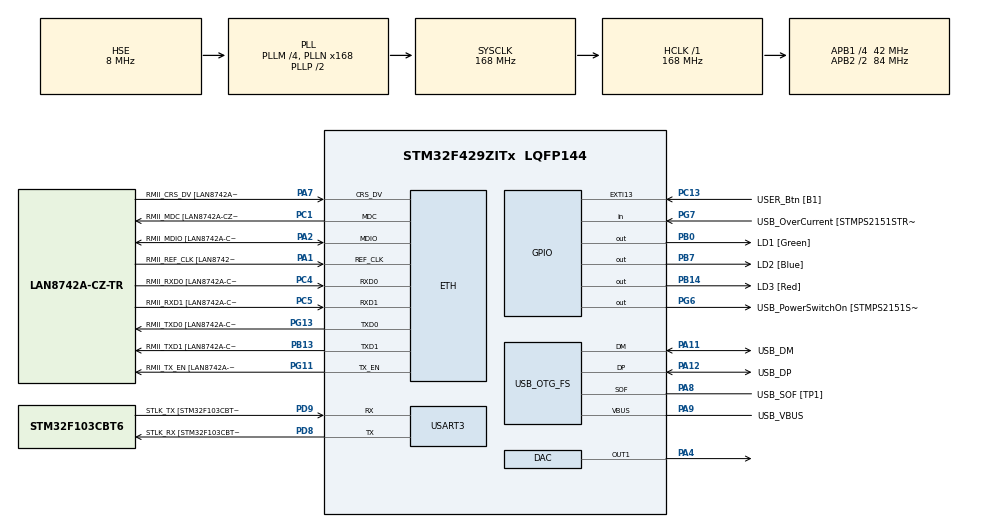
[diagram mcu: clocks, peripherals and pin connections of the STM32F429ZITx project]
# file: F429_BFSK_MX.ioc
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ETH.MediaInterface=HAL_ETH_RMII_MODE
ETH.PHY_Name=LAN8742A_PHY_ADDRESS
ETH.PHY_Value=0
ETH.PhyAddress=0
Mcu.Family=STM32F4
Mcu.Name=STM32F429ZITx
Mcu.Package=LQFP144
NVIC.PriorityGroup=NVIC_PRIORITYGROUP_4
NVIC.TIM6_DAC_IRQn=true\:0\:0\:false\:false\:true\:true\:true\:true
PA1.GPIO_Label=RMII_REF_CLK [LAN8742A-CZ-TR_REFCLK0]
PA1.Mode=RMII
PA1.Signal=ETH_REF_CLK
PA10.GPIO_Label=USB_ID
PA10.Signal=USB_OTG_FS_ID
PA11.GPIO_Label=USB_DM
PA11.Mode=Device_Only
PA11.Signal=USB_OTG_FS_DM
PA12.GPIO_Label=USB_DP
PA12.Mode=Device_Only
PA12.Signal=USB_OTG_FS_DP
PA13.GPIO_Label=TMS
PA13.Mode=Serial_Wire
PA13.Signal=SYS_JTMS-SWDIO
PA14.GPIO_Label=TCK
PA14.Mode=Serial_Wire
PA14.Signal=SYS_JTCK-SWCLK
PA2.GPIO_Label=RMII_MDIO [LAN8742A-CZ-TR_MDIO]
PA2.Mode=RMII
PA2.Signal=ETH_MDIO
PA4.Signal=COMP_DAC1_group
PA7.GPIO_Label=RMII_CRS_DV [LAN8742A-CZ-TR_CRS_DV]
PA7.Mode=RMII
PA7.Signal=ETH_CRS_DV
PA8.GPIO_Label=USB_SOF [TP1]
PA8.Mode=Activate_SOF_FS
PA8.Signal=USB_OTG_FS_SOF
PA9.GPIO_Label=USB_VBUS
PA9.Mode=Activate_VBUS
PA9.Signal=USB_OTG_FS_VBUS
PB0.GPIO_Label=LD1 [Green]
PB0.Signal=GPIO_Output
PB13.GPIO_Label=RMII_TXD1 [LAN8742A-CZ-TR_TXD1]
PB13.Mode=RMII
PB13.Signal=ETH_TXD1
PB14.GPIO_Label=LD3 [Red]
PB14.Signal=GPIO_Output
PB7.GPIO_Label=LD2 [Blue]
PB7.Signal=GPIO_Output
PC1.GPIO_Label=RMII_MDC [LAN8742A-CZ-TR_MDC]
PC1.Mode=RMII
PC1.Signal=ETH_MDC
PC13.GPIO_Label=USER_Btn [B1]
PC13.Signal=GPXTI13
PC14/OSC32_IN.Mode=LSE-External-Oscillator
PC14/OSC32_IN.Signal=RCC_OSC32_IN
PC15/OSC32_OUT.Mode=LSE-External-Oscillator
PC15/OSC32_OUT.Signal=RCC_OSC32_OUT
PC4.GPIO_Label=RMII_RXD0 [LAN8742A-CZ-TR_RXD0]
PC4.Mode=RMII
PC4.Signal=ETH_RXD0
PC5.GPIO_Label=RMII_RXD1 [LAN8742A-CZ-TR_RXD1]
PC5.Mode=RMII
PC5.Signal=ETH_RXD1
PD8.GPIO_Label=STLK_RX [STM32F103CBT6_PA3]
PD8.Mode=Asynchronous
PD8.Signal=USART3_TX
PD9.GPIO_Label=STLK_TX [STM32F103CBT6_PA2]
PD9.Mode=Asynchronous
PD9.Signal=USART3_RX
PG11.GPIO_Label=RMII_TX_EN [LAN8742A-CZ-TR_TXEN]
PG11.Mode=RMII
PG11.Signal=ETH_TX_EN
PG13.GPIO_Label=RMII_TXD0 [LAN8742A-CZ-TR_TXD0]
PG13.Mode=RMII
PG13.Signal=ETH_TXD0
PG6.GPIO_Label=USB_PowerSwitchOn [STMPS2151STR_EN]
PG6.Signal=GPIO_Output
PG7.GPIO_Label=USB_OverCurrent [STMPS2151STR_FAULT]
PG7.Signal=GPIO_Input
PH0/OSC_IN.GPIO_Label=MCO [STM32F103CBT6_PA8]
PH0/OSC_IN.Mode=HSE-External-Clock-Source
PH0/OSC_IN.Signal=RCC_OSC_IN
PH1/OSC_OUT.Mode=HSE-External-Clock-Source
PH1/OSC_OUT.Signal=RCC_OSC_OUT
ProjectManager.HeapSize=0x200
ProjectManager.StackSize=0x400
ProjectManager.TargetToolchain=STM32CubeIDE
RCC.48MHZClocksFreq_Value=48000000
RCC.AHBFreq_Value=168000000
RCC.APB1CLKDivider=RCC_HCLK_DIV4
RCC.APB1Freq_Value=42000000
RCC.APB1TimFreq_Value=84000000
RCC.APB2CLKDivider=RCC_HCLK_DIV2
RCC.APB2Freq_Value=84000000
RCC.APB2TimCLKDivider=2
RCC.APB2TimFreq_Value=168000000
RCC.CortexFreq_Value=168000000
RCC.HCLKFreq_Value=168000000
RCC.HSE_VALUE=8000000
RCC.HSI_VALUE=16000000
RCC.PLLM=4
RCC.PLLMUL=RCC_PLL_MUL9
RCC.PLLN=168
RCC.PLLQ=7
RCC.PRESCALERUSB=RCC_USBCLKSOURCE_PLL_DIV1_5
RCC.SYSCLKFreq_VALUE=168000000
RCC.SYSCLKSource=RCC_SYSCLKSOURCE_PLLCLK
RCC.SYSCLKSourceVirtual=RCC_SYSCLKSOURCE_PLLCLK
RCC.USBFreq_Value=48000000
RCC.VCOOutputFreq_Value=336000000
SH.COMP_DAC1_group.0=DAC_OUT1,DAC_OUT1
TIM6.Period=1311
USART3.VirtualMode=VM_ASYNC
USB_OTG_FS.VirtualMode=Device_Only
VP_TIM6_VS_ClockSourceINT.Mode=Enable_Timer
board=NUCLEO-F429ZI

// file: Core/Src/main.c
/* USER CODE BEGIN Header */
/* F429_BFSK_MX */
/**
  ******************************************************************************
  * @file           : main.c
  * @brief          : Main program body
  ******************************************************************************
  * @attention
  *
  * Copyright (c) 2026 STMicroelectronics.
  * All rights reserved.
  *
  * This software is licensed under terms that can be found in the LICENSE file
  * in the root directory of this software component.
  * If no LICENSE file comes with this software, it is provided AS-IS.
  *
  ******************************************************************************
  */
/* USER CODE END Header */
#include "main.h"
#include "string.h"

/* USER CODE BEGIN Includes */
#include <string.h>
#include <stdint.h>
/* USER CODE END Includes */

ETH_TxPacketConfig TxConfig;
ETH_DMADescTypeDef  DMARxDscrTab[ETH_RX_DESC_CNT]; /* Ethernet Rx DMA Descriptors */
ETH_DMADescTypeDef  DMATxDscrTab[ETH_TX_DESC_CNT]; /* Ethernet Tx DMA Descriptors */

DAC_HandleTypeDef hdac;

ETH_HandleTypeDef heth;

TIM_HandleTypeDef htim6;

UART_HandleTypeDef huart3;

PCD_HandleTypeDef hpcd_USB_OTG_FS;

/* USER CODE BEGIN PV */
#define TABLE_SIZE 64U
#define UPDATE_RATE_HZ 64000UL
#define BIT_MS 5UL
#define DAC_VREF_V 3.34f
#define DAC_1V68_CODE ((uint16_t)(1.68f / DAC_VREF_V * 4095.0f))

// Test message
static const char bitString[]="01000001010011010100000101000011";

// 12-bit DAC sine LUT (0..4095)
static const uint16_t sineTable[TABLE_SIZE] = {
  2048,2248,2447,2642,2831,3013,3185,3346,
  3495,3630,3750,3853,3939,4006,4056,4086,
  4095,4086,4056,4006,3939,3853,3750,3630,
  3495,3346,3185,3013,2831,2642,2447,2248,
  2048,1847,1648,1453,1264,1082, 910, 749,
   600, 465, 345, 242, 156,  89,  39,   9,
     0,   9,  39,  89, 156, 242, 345, 465,
   600, 749, 910,1082,1264,1453,1648,1847
};

// DDS phase accumulator (Q16) + step
volatile uint32_t phase = 0;
volatile uint32_t phase_step = 0;

// override control (for fixed DC output)
volatile uint8_t dac_override_en = 1;
volatile uint16_t dac_override_val = DAC_1V68_CODE;

static inline  uint32_t calc_phase_step(uint32_t freq_hz)
{
  // step = TABLE_SIZE * 65536 * f / UPDATE_RATE
  return (uint32_t)((uint64_t)TABLE_SIZE * 65536ULL * (uint64_t)freq_hz / (uint64_t)UPDATE_RATE_HZ);
}

// TX state machine
typedef enum{
  ST_PRE_1V68_50MS = 0,
  ST_PRE_0V_50MS,
  ST_DATA,
  ST_POST_0V_50MS,
  ST_DONE
} TxState;

static TxState st = ST_PRE_1V68_50MS;

static uint32_t bitIndex = 0;
static uint32_t lastBitTick = 0;
static uint32_t stTick = 0;

/* USER CODE END PV */

void SystemClock_Config(void);
static void MX_GPIO_Init(void);
static void MX_DAC_Init(void);
static void MX_ETH_Init(void);
static void MX_TIM6_Init(void);
static void MX_USART3_UART_Init(void);
static void MX_USB_OTG_FS_PCD_Init(void);

int main(void)
{

  /* MCU Configuration--------------------------------------------------------*/

  /* Reset of all peripherals, Initializes the Flash interface and the Systick. */
  HAL_Init();

  /* Configure the system clock */
  SystemClock_Config();

  /* Initialize all configured peripherals */
  MX_GPIO_Init();
  MX_DAC_Init();
  MX_ETH_Init();
  MX_TIM6_Init();
  MX_USART3_UART_Init();
  MX_USB_OTG_FS_PCD_Init();
  /* USER CODE BEGIN 2 */
  HAL_DAC_Start(&hdac, DAC_CHANNEL_1);
  // Start TIM6 interrupt (TIM6 already configured to ~ 64 kHz in CubeMX)
  HAL_TIM_Base_Start_IT(&htim6);

  st = ST_PRE_1V68_50MS;
  stTick = HAL_GetTick();

  dac_override_en = 1;
  dac_override_val = DAC_1V68_CODE;

  phase = 0;
  phase_step = 0;
  bitIndex = 0;

  /* USER CODE END 2 */

  /* Infinite loop */
  /* USER CODE BEGIN WHILE */
  while (1)
  {
	  uint32_t now = HAL_GetTick();

	  switch (st)
	  {
	  case ST_PRE_1V68_50MS:
		  // fix 1.68 V output for 50 ms
		  dac_override_en = 1;
		  dac_override_val = DAC_1V68_CODE;

		  if (now - stTick >= 50)
		  {
			  st = ST_PRE_0V_50MS;
			  stTick = now;
		  }
		  break;
	  case ST_PRE_0V_50MS:
		  // fix 0V output for 50 ms
		  dac_override_en = 1;
		  dac_override_val = 0;

		  if (now - stTick >= 50)
		  {
			  // into the data section
			  st = ST_DATA;
			  stTick = now;

			  dac_override_en = 0;
			  phase = 0;
			  bitIndex = 0;
			  lastBitTick = now;

			  if (bitString[0] == '0') phase_step = calc_phase_step(1000);
			  else phase_step = calc_phase_step(2000);
		  }
		  break;

	  case ST_DATA:
		  // change frequency per bit_ms
		  if (now - lastBitTick >= BIT_MS)
		  {
			  lastBitTick += BIT_MS;
			  bitIndex++;

			  char b = bitString[bitIndex];

			  if (b == '\0')
			  {
				  st = ST_POST_0V_50MS;
				  stTick = now;
				  // back to 0V

				  dac_override_en = 1;
				  dac_override_val = 0;
				  phase_step = 0;
			  } else{
				  if (b == '0') phase_step = calc_phase_step(1000);
				  else phase_step = calc_phase_step(2000);
			  }
		  }
		  break;

	  case ST_POST_0V_50MS:
		  // fix 0V output for 50 ms
		  dac_override_en = 1;
		  dac_override_val = 0;

		  if (now - stTick >= 50)
		  {
			  st = ST_DONE;
		  }
		  break;

	  case ST_DONE:
		  if (now - stTick >= 500)
		  {
			  st = ST_PRE_1V68_50MS;
			  stTick = now;
			  bitIndex = 0;
			  phase = 0;
		  }
		  break;
	  default:
		  // stay at 0V forever
		  dac_override_en = 1;
		  dac_override_val = 0;
		  break;

	  }
    /* USER CODE END WHILE */

  }
}

void SystemClock_Config(void)
{
  RCC_OscInitTypeDef RCC_OscInitStruct = {0};
  RCC_ClkInitTypeDef RCC_ClkInitStruct = {0};

  /** Configure the main internal regulator output voltage
  */
  __HAL_RCC_PWR_CLK_ENABLE();
  __HAL_PWR_VOLTAGESCALING_CONFIG(PWR_REGULATOR_VOLTAGE_SCALE1);

  /** Initializes the RCC Oscillators according to the specified parameters
  * in the RCC_OscInitTypeDef structure.
  */
  RCC_OscInitStruct.OscillatorType = RCC_OSCILLATORTYPE_HSE;
  RCC_OscInitStruct.HSEState = RCC_HSE_BYPASS;
  RCC_OscInitStruct.PLL.PLLState = RCC_PLL_ON;
  RCC_OscInitStruct.PLL.PLLSource = RCC_PLLSOURCE_HSE;
  RCC_OscInitStruct.PLL.PLLM = 4;
  RCC_OscInitStruct.PLL.PLLN = 168;
  RCC_OscInitStruct.PLL.PLLP = RCC_PLLP_DIV2;
  RCC_OscInitStruct.PLL.PLLQ = 7;
  if (HAL_RCC_OscConfig(&RCC_OscInitStruct) != HAL_OK)
  {
    Error_Handler();
  }

  /** Initializes the CPU, AHB and APB buses clocks
  */
  RCC_ClkInitStruct.ClockType = RCC_CLOCKTYPE_HCLK|RCC_CLOCKTYPE_SYSCLK
                              |RCC_CLOCKTYPE_PCLK1|RCC_CLOCKTYPE_PCLK2;
  RCC_ClkInitStruct.SYSCLKSource = RCC_SYSCLKSOURCE_PLLCLK;
  RCC_ClkInitStruct.AHBCLKDivider = RCC_SYSCLK_DIV1;
  RCC_ClkInitStruct.APB1CLKDivider = RCC_HCLK_DIV4;
  RCC_ClkInitStruct.APB2CLKDivider = RCC_HCLK_DIV2;

  if (HAL_RCC_ClockConfig(&RCC_ClkInitStruct, FLASH_LATENCY_5) != HAL_OK)
  {
    Error_Handler();
  }
}

static void MX_DAC_Init(void)
{

  DAC_ChannelConfTypeDef sConfig = {0};

  /** DAC Initialization
  */
  hdac.Instance = DAC;
  if (HAL_DAC_Init(&hdac) != HAL_OK)
  {
    Error_Handler();
  }

  /** DAC channel OUT1 config
  */
  sConfig.DAC_Trigger = DAC_TRIGGER_NONE;
  sConfig.DAC_OutputBuffer = DAC_OUTPUTBUFFER_ENABLE;
  if (HAL_DAC_ConfigChannel(&hdac, &sConfig, DAC_CHANNEL_1) != HAL_OK)
  {
    Error_Handler();
  }

}

static void MX_ETH_Init(void)
{

   static uint8_t MACAddr[6];

  heth.Instance = ETH;
  MACAddr[0] = 0x00;
  MACAddr[1] = 0x80;
  MACAddr[2] = 0xE1;
  MACAddr[3] = 0x00;
  MACAddr[4] = 0x00;
  MACAddr[5] = 0x00;
  heth.Init.MACAddr = &MACAddr[0];
  heth.Init.MediaInterface = HAL_ETH_RMII_MODE;
  heth.Init.TxDesc = DMATxDscrTab;
  heth.Init.RxDesc = DMARxDscrTab;
  heth.Init.RxBuffLen = 1524;

  if (HAL_ETH_Init(&heth) != HAL_OK)
  {
    Error_Handler();
  }

  memset(&TxConfig, 0 , sizeof(ETH_TxPacketConfig));
  TxConfig.Attributes = ETH_TX_PACKETS_FEATURES_CSUM | ETH_TX_PACKETS_FEATURES_CRCPAD;
  TxConfig.ChecksumCtrl = ETH_CHECKSUM_IPHDR_PAYLOAD_INSERT_PHDR_CALC;
  TxConfig.CRCPadCtrl = ETH_CRC_PAD_INSERT;

}

static void MX_TIM6_Init(void)
{

  TIM_MasterConfigTypeDef sMasterConfig = {0};

  htim6.Instance = TIM6;
  htim6.Init.Prescaler = 0;
  htim6.Init.CounterMode = TIM_COUNTERMODE_UP;
  htim6.Init.Period = 1311;
  htim6.Init.AutoReloadPreload = TIM_AUTORELOAD_PRELOAD_DISABLE;
  if (HAL_TIM_Base_Init(&htim6) != HAL_OK)
  {
    Error_Handler();
  }
  sMasterConfig.MasterOutputTrigger = TIM_TRGO_RESET;
  sMasterConfig.MasterSlaveMode = TIM_MASTERSLAVEMODE_DISABLE;
  if (HAL_TIMEx_MasterConfigSynchronization(&htim6, &sMasterConfig) != HAL_OK)
  {
    Error_Handler();
  }

}

static void MX_USART3_UART_Init(void)
{

  huart3.Instance = USART3;
  huart3.Init.BaudRate = 115200;
  huart3.Init.WordLength = UART_WORDLENGTH_8B;
  huart3.Init.StopBits = UART_STOPBITS_1;
  huart3.Init.Parity = UART_PARITY_NONE;
  huart3.Init.Mode = UART_MODE_TX_RX;
  huart3.Init.HwFlowCtl = UART_HWCONTROL_NONE;
  huart3.Init.OverSampling = UART_OVERSAMPLING_16;
  if (HAL_UART_Init(&huart3) != HAL_OK)
  {
    Error_Handler();
  }

}

static void MX_USB_OTG_FS_PCD_Init(void)
{

  hpcd_USB_OTG_FS.Instance = USB_OTG_FS;
  hpcd_USB_OTG_FS.Init.dev_endpoints = 4;
  hpcd_USB_OTG_FS.Init.speed = PCD_SPEED_FULL;
  hpcd_USB_OTG_FS.Init.dma_enable = DISABLE;
  hpcd_USB_OTG_FS.Init.phy_itface = PCD_PHY_EMBEDDED;
  hpcd_USB_OTG_FS.Init.Sof_enable = ENABLE;
  hpcd_USB_OTG_FS.Init.low_power_enable = DISABLE;
  hpcd_USB_OTG_FS.Init.lpm_enable = DISABLE;
  hpcd_USB_OTG_FS.Init.vbus_sensing_enable = ENABLE;
  hpcd_USB_OTG_FS.Init.use_dedicated_ep1 = DISABLE;
  if (HAL_PCD_Init(&hpcd_USB_OTG_FS) != HAL_OK)
  {
    Error_Handler();
  }

}

static void MX_GPIO_Init(void)
{
  GPIO_InitTypeDef GPIO_InitStruct = {0};

  /* GPIO Ports Clock Enable */
  __HAL_RCC_GPIOC_CLK_ENABLE();
  __HAL_RCC_GPIOH_CLK_ENABLE();
  __HAL_RCC_GPIOA_CLK_ENABLE();
  __HAL_RCC_GPIOB_CLK_ENABLE();
  __HAL_RCC_GPIOD_CLK_ENABLE();
  __HAL_RCC_GPIOG_CLK_ENABLE();

  /*Configure GPIO pin Output Level */
  HAL_GPIO_WritePin(GPIOB, LD1_Pin|LD3_Pin|LD2_Pin, GPIO_PIN_RESET);

  /*Configure GPIO pin Output Level */
  HAL_GPIO_WritePin(USB_PowerSwitchOn_GPIO_Port, USB_PowerSwitchOn_Pin, GPIO_PIN_RESET);

  /*Configure GPIO pin : USER_Btn_Pin */
  GPIO_InitStruct.Pin = USER_Btn_Pin;
  GPIO_InitStruct.Mode = GPIO_MODE_IT_RISING;
  GPIO_InitStruct.Pull = GPIO_NOPULL;
  HAL_GPIO_Init(USER_Btn_GPIO_Port, &GPIO_InitStruct);

  /*Configure GPIO pins : LD1_Pin LD3_Pin LD2_Pin */
  GPIO_InitStruct.Pin = LD1_Pin|LD3_Pin|LD2_Pin;
  GPIO_InitStruct.Mode = GPIO_MODE_OUTPUT_PP;
  GPIO_InitStruct.Pull = GPIO_NOPULL;
  GPIO_InitStruct.Speed = GPIO_SPEED_FREQ_LOW;
  HAL_GPIO_Init(GPIOB, &GPIO_InitStruct);

  /*Configure GPIO pin : USB_PowerSwitchOn_Pin */
  GPIO_InitStruct.Pin = USB_PowerSwitchOn_Pin;
  GPIO_InitStruct.Mode = GPIO_MODE_OUTPUT_PP;
  GPIO_InitStruct.Pull = GPIO_NOPULL;
  GPIO_InitStruct.Speed = GPIO_SPEED_FREQ_LOW;
  HAL_GPIO_Init(USB_PowerSwitchOn_GPIO_Port, &GPIO_InitStruct);

  /*Configure GPIO pin : USB_OverCurrent_Pin */
  GPIO_InitStruct.Pin = USB_OverCurrent_Pin;
  GPIO_InitStruct.Mode = GPIO_MODE_INPUT;
  GPIO_InitStruct.Pull = GPIO_NOPULL;
  HAL_GPIO_Init(USB_OverCurrent_GPIO_Port, &GPIO_InitStruct);

}

/* USER CODE BEGIN 4 */
void HAL_TIM_PeriodElapsedCallback(TIM_HandleTypeDef *htim)
{
  if (htim->Instance == TIM6){

	  if (dac_override_en)
	  {
	    HAL_DAC_SetValue(&hdac , DAC_CHANNEL_1 , DAC_ALIGN_12B_R , dac_override_val);
	    return;
	  }

	  uint16_t idx = (uint16_t)((phase >> 16) & (TABLE_SIZE -1));
	  HAL_DAC_SetValue(&hdac, DAC_CHANNEL_1, DAC_ALIGN_12B_R , sineTable[idx]);
	  phase += phase_step;
  }
}
/* USER CODE END 4 */

void Error_Handler(void)
{
  __disable_irq();
  while (1)
  {
  }
}
